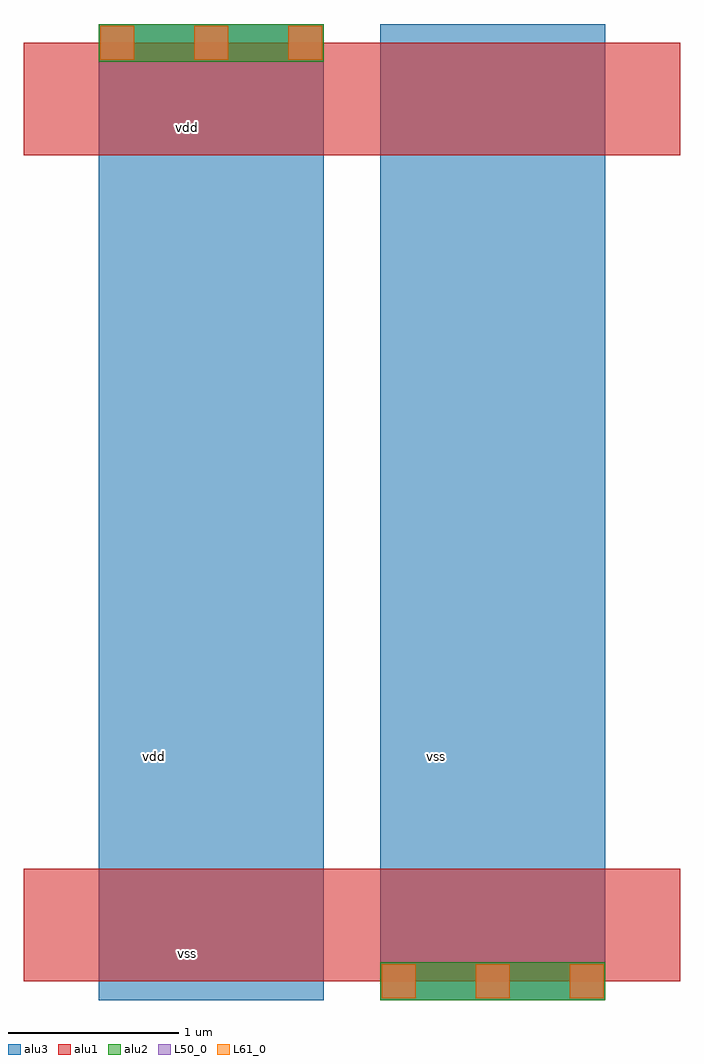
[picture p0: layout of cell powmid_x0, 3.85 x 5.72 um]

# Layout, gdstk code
import gdstk
lib = gdstk.Library(unit=1e-6, precision=2.5e-09)
def R(c, l, rs):  # rectangles x0, y0, x1, y1
    for r in rs: c.add(gdstk.rectangle(r[:2], r[2:], *l))
def A(c, l, x, y, w, h, nx, ny, dx, dy):  # array of equal rectangles
    R(c, l, [(x+i*dx, y+j*dy, x+i*dx+w, y+j*dy+h) for i in range(nx) for j in range(ny)])
alu1 = (49, 0)
L50_0 = (50, 0)
alu2 = (51, 0)
L61_0 = (61, 0)
alu3 = (62, 0)

powmid_x0 = lib.new_cell('powmid_x0')
R(powmid_x0, alu1, [(0,0,3.85,0.66), (0,4.84,3.85,5.5)])
A(powmid_x0, L50_0, 2.1, -0.1, 0.2, 0.2, 3, 1, 0.55, 0)
A(powmid_x0, L50_0, 0.45, 5.4, 0.2, 0.2, 3, 1, 0.55, 0)
R(powmid_x0, alu2, [(2.09,-0.11,3.41,0.11), (0.44,5.39,1.76,5.61)])
A(powmid_x0, L61_0, 2.1, -0.1, 0.2, 0.2, 3, 1, 0.55, 0)
A(powmid_x0, L61_0, 0.45, 5.4, 0.2, 0.2, 3, 1, 0.55, 0)
R(powmid_x0, alu3, [(0.44,-0.11,1.76,5.61), (2.09,-0.11,3.41,5.61)])
powmid_x0.add(gdstk.Label('vss', (0.9625,0.165), layer=49, texttype=0))
powmid_x0.add(gdstk.Label('vdd', (0.9625,5.005), layer=49, texttype=0))
powmid_x0.add(gdstk.Label('vss', (2.42,1.32), layer=62, texttype=0))
powmid_x0.add(gdstk.Label('vdd', (0.77,1.32), layer=62, texttype=0))

lib.write_gds('powmid_x0.gds')
